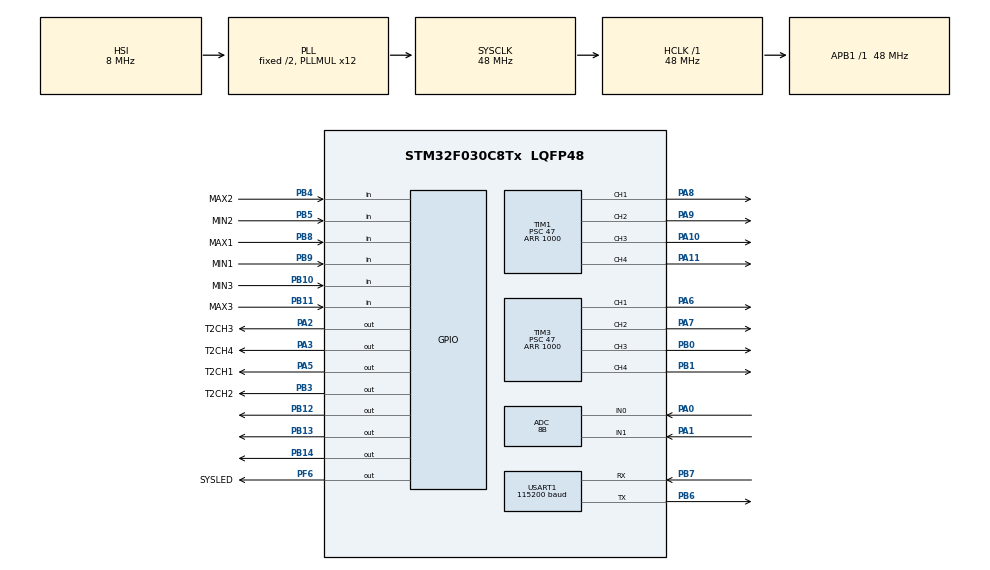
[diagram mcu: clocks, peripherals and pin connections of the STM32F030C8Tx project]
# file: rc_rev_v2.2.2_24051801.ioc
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ADC.AWD1LowThreshold=0
ADC.Channel-1\#ChannelRegularConversion=ADC_CHANNEL_1
ADC.Channel-IN0=ADC_CHANNEL_0
ADC.Channel-IN1=ADC_CHANNEL_1
ADC.ClockPrescaler=ADC_CLOCK_SYNC_PCLK_DIV4
ADC.ContinuousConvMode=ENABLE
ADC.DMAContinuousRequests=ENABLE
ADC.DataAlign=ADC_DATAALIGN_RIGHT
ADC.DiscontinuousConvMode=DISABLE
ADC.EOCSelection=ADC_EOC_SINGLE_CONV
ADC.EnableAnalogWatchDog=false
ADC.ExternalTrigConv=ADC_SOFTWARE_START
ADC.ExternalTrigConvEdge=ADC_EXTERNALTRIGCONVEDGE_NONE
ADC.LowPowerAutoPowerOff=DISABLE
ADC.LowPowerAutoWait=DISABLE
ADC.NbrOfConversion=2
ADC.NbrOfConversionFlag=1
ADC.Overrun=ADC_OVR_DATA_PRESERVED
ADC.Rank-0\#ChannelRegularConversion=1
ADC.Rank-1\#ChannelRegularConversion=2
ADC.Resolution=ADC_RESOLUTION_8B
ADC.SamplingTime=ADC_SAMPLETIME_239CYCLES_5
ADC.ScanConvMode=ADC_SCAN_DIRECTION_FORWARD
ADC.master=1
Dma.ADC.0.Direction=DMA_PERIPH_TO_MEMORY
Dma.ADC.0.Instance=DMA1_Channel1
Dma.ADC.0.MemDataAlignment=DMA_MDATAALIGN_BYTE
Dma.ADC.0.MemInc=DMA_MINC_ENABLE
Dma.ADC.0.Mode=DMA_CIRCULAR
Dma.ADC.0.PeriphDataAlignment=DMA_PDATAALIGN_BYTE
Dma.ADC.0.PeriphInc=DMA_PINC_DISABLE
Dma.ADC.0.Priority=DMA_PRIORITY_MEDIUM
Dma.Request0=ADC
Mcu.Family=STM32F0
Mcu.Name=STM32F030C8Tx
Mcu.Package=LQFP48
NVIC.DMA1_Channel1_IRQn=true\:0\:0\:false\:false\:true\:false\:true\:true
NVIC.TIM16_IRQn=true\:0\:0\:false\:false\:true\:true\:true\:true
NVIC.TIM17_IRQn=true\:0\:0\:false\:false\:true\:true\:true\:true
NVIC.USART1_IRQn=true\:0\:0\:false\:false\:true\:true\:true\:true
PA0.Mode=IN0
PA0.Signal=ADC_IN0
PA1.Mode=IN1
PA1.Signal=ADC_IN1
PA10.Signal=S_TIM1_CH3
PA11.Signal=S_TIM1_CH4
PA13.Mode=Serial_Wire
PA13.Signal=SYS_SWDIO
PA14.Mode=Serial_Wire
PA14.Signal=SYS_SWCLK
PA2.GPIO_Label=T2CH3
PA2.Signal=GPIO_Output
PA3.GPIO_Label=T2CH4
PA3.Signal=GPIO_Output
PA5.GPIO_Label=T2CH1
PA5.Signal=GPIO_Output
PA6.Signal=S_TIM3_CH1
PA7.Signal=S_TIM3_CH2
PA8.Signal=S_TIM1_CH1
PA9.Signal=S_TIM1_CH2
PB0.Signal=S_TIM3_CH3
PB1.Signal=S_TIM3_CH4
PB10.GPIO_Label=MIN3
PB10.Signal=GPIO_Input
PB11.GPIO_Label=MAX3
PB11.Signal=GPIO_Input
PB12.GPIO_PuPd=GPIO_NOPULL
PB12.Signal=GPIO_Output
PB13.Signal=GPIO_Output
PB14.Signal=GPIO_Output
PB3.GPIO_Label=T2CH2
PB3.Signal=GPIO_Output
PB4.GPIO_Label=MAX2
PB4.Signal=GPIO_Input
PB5.GPIO_Label=MIN2
PB5.Signal=GPIO_Input
PB6.Mode=Asynchronous
PB6.Signal=USART1_TX
PB7.Mode=Asynchronous
PB7.Signal=USART1_RX
PB8.GPIO_Label=MAX1
PB8.Signal=GPIO_Input
PB9.GPIO_Label=MIN1
PB9.Signal=GPIO_Input
PF6.GPIO_Label=SYSLED
PF6.Signal=GPIO_Output
ProjectManager.HeapSize=0x00
ProjectManager.StackSize=0x400
ProjectManager.TargetToolchain=MDK-ARM V5
RCC.AHBFreq_Value=48000000
RCC.APB1Freq_Value=48000000
RCC.APB1TimFreq_Value=48000000
RCC.FLatency=FLASH_LATENCY_1
RCC.HCLKFreq_Value=48000000
RCC.PLLMUL=RCC_PLL_MUL12
RCC.SYSCLKFreq_VALUE=48000000
RCC.SYSCLKSource=RCC_SYSCLKSOURCE_PLLCLK
SH.S_TIM1_CH1.0=TIM1_CH1,PWM Generation1 CH1
SH.S_TIM1_CH2.0=TIM1_CH2,PWM Generation2 CH2
SH.S_TIM1_CH3.0=TIM1_CH3,PWM Generation3 CH3
SH.S_TIM1_CH4.0=TIM1_CH4,PWM Generation4 CH4
SH.S_TIM3_CH1.0=TIM3_CH1,PWM Generation1 CH1
SH.S_TIM3_CH2.0=TIM3_CH2,PWM Generation2 CH2
SH.S_TIM3_CH3.0=TIM3_CH3,PWM Generation3 CH3
SH.S_TIM3_CH4.0=TIM3_CH4,PWM Generation4 CH4
TIM1.AutoReloadPreload=TIM_AUTORELOAD_PRELOAD_ENABLE
TIM1.AutomaticOutput=TIM_AUTOMATICOUTPUT_DISABLE
TIM1.BreakPolarity=TIM_BREAKPOLARITY_HIGH
TIM1.BreakState=TIM_BREAK_DISABLE
TIM1.Channel-PWM\ Generation1\ CH1=TIM_CHANNEL_1
TIM1.Channel-PWM\ Generation2\ CH2=TIM_CHANNEL_2
TIM1.Channel-PWM\ Generation3\ CH3=TIM_CHANNEL_3
TIM1.Channel-PWM\ Generation4\ CH4=TIM_CHANNEL_4
TIM1.ClockDivision=TIM_CLOCKDIVISION_DIV1
TIM1.CounterMode=TIM_COUNTERMODE_UP
TIM1.LockLevel=TIM_LOCKLEVEL_OFF
TIM1.OC1Preload_PWM=ENABLE
TIM1.OC2Preload_PWM=ENABLE
TIM1.OC3Preload_PWM=ENABLE
TIM1.OC4Preload_PWM=ENABLE
TIM1.OCFastMode_PWM-PWM\ Generation1\ CH1=TIM_OCFAST_ENABLE
TIM1.OCFastMode_PWM-PWM\ Generation2\ CH2=TIM_OCFAST_ENABLE
TIM1.OCFastMode_PWM-PWM\ Generation3\ CH3=TIM_OCFAST_ENABLE
TIM1.OCFastMode_PWM-PWM\ Generation4\ CH4=TIM_OCFAST_ENABLE
TIM1.OCIdleState_1=TIM_OCIDLESTATE_RESET
TIM1.OCIdleState_2=TIM_OCIDLESTATE_RESET
TIM1.OCIdleState_3=TIM_OCIDLESTATE_RESET
TIM1.OCIdleState_4=TIM_OCIDLESTATE_RESET
TIM1.OCMode_PWM-PWM\ Generation1\ CH1=TIM_OCMODE_PWM1
TIM1.OCMode_PWM-PWM\ Generation2\ CH2=TIM_OCMODE_PWM1
TIM1.OCMode_PWM-PWM\ Generation3\ CH3=TIM_OCMODE_PWM1
TIM1.OCMode_PWM-PWM\ Generation4\ CH4=TIM_OCMODE_PWM1
TIM1.OCPolarity_1=TIM_OCPOLARITY_HIGH
TIM1.OCPolarity_2=TIM_OCPOLARITY_HIGH
TIM1.OCPolarity_3=TIM_OCPOLARITY_HIGH
TIM1.OCPolarity_4=TIM_OCPOLARITY_HIGH
TIM1.OffStateIDLEMode=TIM_OSSI_DISABLE
TIM1.OffStateRunMode=TIM_OSSR_DISABLE
TIM1.Period=1000
TIM1.Prescaler=47
TIM1.Pulse-PWM\ Generation1\ CH1=500
TIM1.Pulse-PWM\ Generation2\ CH2=500
TIM1.Pulse-PWM\ Generation3\ CH3=500
TIM1.Pulse-PWM\ Generation4\ CH4=500
TIM1.RepetitionCounter=0
TIM1.TIM_MasterOutputTrigger=TIM_TRGO_RESET
TIM1.TIM_MasterSlaveMode=TIM_MASTERSLAVEMODE_DISABLE
TIM16.AutoReloadPreload=TIM_AUTORELOAD_PRELOAD_ENABLE
TIM16.ClockDivision=TIM_CLOCKDIVISION_DIV1
TIM16.CounterMode=TIM_COUNTERMODE_UP
TIM16.Period=10000
TIM16.Prescaler=47
TIM16.RepetitionCounter=0
TIM17.AutoReloadPreload=TIM_AUTORELOAD_PRELOAD_ENABLE
TIM17.Period=100
TIM17.Prescaler=47
TIM3.AutoReloadPreload=TIM_AUTORELOAD_PRELOAD_ENABLE
TIM3.Channel-PWM\ Generation1\ CH1=TIM_CHANNEL_1
TIM3.Channel-PWM\ Generation2\ CH2=TIM_CHANNEL_2
TIM3.Channel-PWM\ Generation3\ CH3=TIM_CHANNEL_3
TIM3.Channel-PWM\ Generation4\ CH4=TIM_CHANNEL_4
TIM3.ClockDivision=TIM_CLOCKDIVISION_DIV1
TIM3.CounterMode=TIM_COUNTERMODE_UP
TIM3.OC1Preload_PWM=ENABLE
TIM3.OC2Preload_PWM=ENABLE
TIM3.OC3Preload_PWM=ENABLE
TIM3.OC4Preload_PWM=ENABLE
TIM3.OCFastMode_PWM-PWM\ Generation1\ CH1=TIM_OCFAST_ENABLE
TIM3.OCFastMode_PWM-PWM\ Generation2\ CH2=TIM_OCFAST_ENABLE
TIM3.OCFastMode_PWM-PWM\ Generation3\ CH3=TIM_OCFAST_ENABLE
TIM3.OCFastMode_PWM-PWM\ Generation4\ CH4=TIM_OCFAST_ENABLE
TIM3.OCMode_PWM-PWM\ Generation1\ CH1=TIM_OCMODE_PWM1
TIM3.OCMode_PWM-PWM\ Generation2\ CH2=TIM_OCMODE_PWM1
TIM3.OCMode_PWM-PWM\ Generation3\ CH3=TIM_OCMODE_PWM1
TIM3.OCMode_PWM-PWM\ Generation4\ CH4=TIM_OCMODE_PWM1
TIM3.OCPolarity_1=TIM_OCPOLARITY_HIGH
TIM3.OCPolarity_2=TIM_OCPOLARITY_HIGH
TIM3.OCPolarity_3=TIM_OCPOLARITY_HIGH
TIM3.OCPolarity_4=TIM_OCPOLARITY_HIGH
TIM3.Period=1000
TIM3.Prescaler=47
TIM3.Pulse-PWM\ Generation1\ CH1=500
TIM3.Pulse-PWM\ Generation2\ CH2=500
TIM3.Pulse-PWM\ Generation3\ CH3=500
TIM3.Pulse-PWM\ Generation4\ CH4=500
TIM3.TIM_MasterOutputTrigger=TIM_TRGO_RESET
TIM3.TIM_MasterSlaveMode=TIM_MASTERSLAVEMODE_DISABLE
USART1.AutoBaudRateEnableParam=UART_ADVFEATURE_AUTOBAUDRATE_DISABLE
USART1.BaudRate=115200
USART1.DMADisableonRxErrorParam=ADVFEATURE_DMA_ENABLEONRXERROR
USART1.DataInvertParam=ADVFEATURE_DATAINV_DISABLE
USART1.MSBFirstParam=ADVFEATURE_MSBFIRST_DISABLE
USART1.Mode=MODE_TX_RX
USART1.OneBitSampling=UART_ONE_BIT_SAMPLE_DISABLE
USART1.OverSampling=UART_OVERSAMPLING_16
USART1.OverrunDisableParam=ADVFEATURE_OVERRUN_ENABLE
USART1.Parity=PARITY_NONE
USART1.RxPinLevelInvertParam=ADVFEATURE_RXINV_DISABLE
USART1.StopBits=STOPBITS_1
USART1.SwapParam=ADVFEATURE_SWAP_DISABLE
USART1.TxPinLevelInvertParam=ADVFEATURE_TXINV_DISABLE
USART1.VirtualMode-Asynchronous=VM_ASYNC
USART1.WordLength=WORDLENGTH_8B
VP_TIM16_VS_ClockSourceINT.Mode=Enable_Timer
VP_TIM17_VS_ClockSourceINT.Mode=Enable_Timer
VP_TIM1_VS_ClockSourceINT.Mode=Internal
VP_TIM3_VS_ClockSourceINT.Mode=Internal
board=custom

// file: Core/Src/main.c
/* USER CODE BEGIN Header */
/**
  ******************************************************************************
  * @file           : main.c
  * @brief          : Main program body
  ******************************************************************************
  * @attention
  *
  * Copyright (c) 2024 STMicroelectronics.
  * All rights reserved.
  *
  * This software is licensed under terms that can be found in the LICENSE file
  * in the root directory of this software component.
  * If no LICENSE file comes with this software, it is provided AS-IS.
  *
  ******************************************************************************
  */
/* USER CODE END Header */
#include "main.h"

/* USER CODE BEGIN Includes */
#include "ci24r1.h"
#include "stdio.h"
#include "SEGGER_RTT.h"
#include "motor.h"

/* USER CODE END Includes */

ADC_HandleTypeDef hadc;
DMA_HandleTypeDef hdma_adc;

TIM_HandleTypeDef htim1;
TIM_HandleTypeDef htim3;
TIM_HandleTypeDef htim16;
TIM_HandleTypeDef htim17;

UART_HandleTypeDef huart1;

void SystemClock_Config(void);
static void MX_GPIO_Init(void);
static void MX_DMA_Init(void);
static void MX_ADC_Init(void);
static void MX_TIM1_Init(void);
static void MX_TIM3_Init(void);
static void MX_USART1_UART_Init(void);
static void MX_TIM16_Init(void);
static void MX_TIM17_Init(void);

/* USER CODE BEGIN 0 */
void print_buf(uint8_t* buf,uint8_t buflen)
{
  for(int i = 0; i<buflen; i++)
  {
    SEGGER_RTT_printf(0, "%#x ",buf[i]);
  }
  SEGGER_RTT_printf(0, "\r\n");

}

//#define TXMODE
#define ADC_CH_CNT 2
#define ADC_AVG_CNT 10
uint8_t adc_value[ADC_CH_CNT * ADC_AVG_CNT] = {0}; // adc dma buffer

u8 adc_get_val(u8 idx)
{
	int sum = 0;
  for(int i=0; i<ADC_AVG_CNT; i++)
  {
    sum += adc_value[idx + i * ADC_CH_CNT];
  }
  return sum/ADC_AVG_CNT;
}

#define SOFTPWMCHN 4

int SoftPwmDuty[SOFTPWMCHN] = {0,0,0,0};
GPIO_TypeDef* SoftPwmPort[SOFTPWMCHN] = {T2CH1_GPIO_Port,T2CH2_GPIO_Port,T2CH3_GPIO_Port,T2CH4_GPIO_Port};
uint16_t SoftPwmPin[SOFTPWMCHN] = {T2CH1_Pin,T2CH2_Pin,T2CH3_Pin,T2CH4_Pin};

void SoftPwmInit(void)
{
  //nothing to do
}
static u8 counter = 0;
// put in tim17 interrupt
void SoftPwmService(void)
{

    int i;

    if(counter == 0)
    {
      for(i=0; i<SOFTPWMCHN; i++)
      {
          if(SoftPwmDuty[i] == 0)
          {
            HAL_GPIO_WritePin(SoftPwmPort[i],SoftPwmPin[i],GPIO_PIN_RESET);
          }
          else
          {
            HAL_GPIO_WritePin(SoftPwmPort[i],SoftPwmPin[i],GPIO_PIN_SET);
          }

      }
      counter++;
    }
    else if(counter >= 10)
    {
      counter = 0;
      for(i=0; i<SOFTPWMCHN; i++)
      {
					if(SoftPwmDuty[i] == 10)
          {
            HAL_GPIO_WritePin(SoftPwmPort[i],SoftPwmPin[i],GPIO_PIN_SET);
          }
          else
          {
            HAL_GPIO_WritePin(SoftPwmPort[i],SoftPwmPin[i],GPIO_PIN_RESET);
          }
      }
    }
    else// 1~9
    {
      for(i=0; i<SOFTPWMCHN; i++)
      {
        if(SoftPwmDuty[i] == counter)
          HAL_GPIO_WritePin(SoftPwmPort[i], SoftPwmPin[i], GPIO_PIN_RESET);
      }
      counter++;
    }

}
//ch 0-3 duty 0-1000
void SoftPwmSetDuty(u8 ch,u16 dutyin)
{
    u8 duty = dutyin / 100;

    if(dutyin >= 910)
      duty = 10;

    if(duty > 10)
        duty = 10;
    if(ch >= 4)
        return;
    SoftPwmDuty[ch] = duty;
}

void limit_init(void)
{
  //cubemax already inital
}

void debounce(u8 originInput,u8 *output,u32 mask,int* bounceTimer)
{
  if (originInput & mask)
  {
    //SEGGER_RTT_printf(0, "max1 trig 1 %d\r\n", HAL_GetTick());
    (*bounceTimer)++;
    if (*bounceTimer >= 5)
    {
      //SEGGER_RTT_printf(0, "max1 trig 2 %d\r\n", HAL_GetTick());
      *bounceTimer = 5; // 一直锁定在这里
      *output |= mask;
    }
    else
    {
      *output &= ~mask;
    }
  }
  else
  {
    *output &= ~mask;
    //SEGGER_RTT_printf(0, "max1 trig 0 %d\r\n", HAL_GetTick());
    *bounceTimer = 0;
  }
}

int Max1timer = 0;
int Max2timer = 0;
int Max3timer = 0;

void limit_check(void)
{

  u8 tmp_limit_state = 0;

  // MAX 输入高为trig
  // MIN 输入低为trig

  if (HAL_GPIO_ReadPin(MAX1_GPIO_Port, MAX1_Pin) == SET)
    tmp_limit_state |= LIMIT_MAX1_TRIG;
  if (HAL_GPIO_ReadPin(MIN1_GPIO_Port, MIN1_Pin) == RESET)
    tmp_limit_state |= LIMIT_MIN1_TRIG;
  if (HAL_GPIO_ReadPin(MAX2_GPIO_Port, MAX2_Pin) == SET)
    tmp_limit_state |= LIMIT_MAX2_TRIG;
  if (HAL_GPIO_ReadPin(MIN2_GPIO_Port, MIN2_Pin) == RESET)
    tmp_limit_state |= LIMIT_MIN2_TRIG;
  if (HAL_GPIO_ReadPin(MAX3_GPIO_Port, MAX3_Pin) == SET)
    tmp_limit_state |= LIMIT_MAX3_TRIG;
  if (HAL_GPIO_ReadPin(MIN3_GPIO_Port, MIN3_Pin) == RESET)
    tmp_limit_state |= LIMIT_MIN3_TRIG;

  g_limit_state = tmp_limit_state;

#if 1
  // max trig信号必须要添加防抖功能,否则电机会出现断断续续现象
	debounce(tmp_limit_state, &g_limit_state, LIMIT_MAX1_TRIG, &Max1timer);
	debounce(tmp_limit_state, &g_limit_state, LIMIT_MAX2_TRIG, &Max2timer);
	debounce(tmp_limit_state, &g_limit_state, LIMIT_MAX3_TRIG, &Max3timer);

#endif
}

//0 灭  1亮  2快闪  3慢闪  4toggle
uint32_t ledOnTime = 5;
uint32_t ledOffTime = 10;

void ledSetMode(int mode)
{
  if(mode == 0)
  {
    ledOnTime = 100;
    ledOffTime = 100;
  }
  else if(mode == 1)
  {
    ledOnTime = 0;
    ledOffTime = 100;
  }
  else if(mode == 2)
  {
    ledOnTime = 20;
    ledOffTime = 40;
  }
  else if(mode == 3)
  {
    ledOnTime = 100;
    ledOffTime = 200;
  }
  else if(mode == 4)
  {
    ledOnTime = 0;
    ledOffTime = 0;
    HAL_GPIO_TogglePin(GPIOF, GPIO_PIN_6);
  }
}
void ledservice(void)
{
  static uint32_t ledTimerCounter = 0;
  if (ledOnTime != 0 || ledOffTime != 0)
  {
    if (++ledTimerCounter >= ledOnTime)
      HAL_GPIO_WritePin(GPIOF, GPIO_PIN_6, GPIO_PIN_RESET); // led on

    if (ledTimerCounter >= ledOffTime)
    {
      ledTimerCounter = 0;
      HAL_GPIO_WritePin(GPIOF, GPIO_PIN_6, GPIO_PIN_SET); // led off
    }
  }
}

uint8_t connectStatus = 0;
uint32_t lastRevFrame = 0;
void connectService(void)
{
    if (connectStatus)
    {
      uint32_t now = HAL_GetTick();
      if (abs(now - lastRevFrame) >= 50)
      {
        connectStatus = 0;
        ledSetMode(3);
      }
    }
}

/* USER CODE END 0 */

int main(void)
{

  /* MCU Configuration--------------------------------------------------------*/

  /* Reset of all peripherals, Initializes the Flash interface and the Systick. */
  HAL_Init();

  /* Configure the system clock */
  SystemClock_Config();

  /* USER CODE BEGIN SysInit */

  HAL_Delay(100);
  SEGGER_RTT_printf(0, "board init\r\n");
  /* USER CODE END SysInit */

  /* Initialize all configured peripherals */
  MX_GPIO_Init();
  MX_DMA_Init();
  MX_ADC_Init();
  MX_TIM1_Init();
  MX_TIM3_Init();
  MX_USART1_UART_Init();
  MX_TIM16_Init();
  MX_TIM17_Init();
  /* USER CODE BEGIN 2 */

  if(HAL_ERROR == HAL_ADCEx_Calibration_Start(&hadc))
  {
    SEGGER_RTT_printf(0, "ADC Calibration error\r\n");
  }
  HAL_ADC_Start_DMA(&hadc, (uint32_t *)adc_value, ADC_CH_CNT * ADC_AVG_CNT);

  motorinit();

  uint8_t TX_ADDRESS[5] = {0x34, 0x43, 0x10, 0x10, 0x01};
  uint8_t RX_ADDRESS[5] = {0x34, 0x43, 0x10, 0x10, 0x01};
  ledSetMode(1);
  while (CI24R1_SPI_Test() == HAL_ERROR)
  {
    //HAL_GPIO_WritePin(GPIOF, GPIO_PIN_6, GPIO_PIN_RESET);
    //HAL_Delay(30);
    //HAL_GPIO_WritePin(GPIOF, GPIO_PIN_6, GPIO_PIN_SET);
    HAL_Delay(1000);

  }
  SEGGER_RTT_printf(0, "ci24r1 test succ\r\n");
  ledSetMode(3);
  /* USER CODE END 2 */

  /* Infinite loop */
  /* USER CODE BEGIN WHILE */
  CI24R1_Init();
  CI24R1_SetChannel(122);
#ifdef	TXMODE
	CI24R1_SetTxMode();
#else
  CI24R1_SetRxMode();
#endif
  CI24R1_SetTxAddress(TX_ADDRESS);
  CI24R1_SetRxAddress(RX_ADDRESS);

  HAL_TIM_Base_Start_IT(&htim16);
  HAL_TIM_Base_Start_IT(&htim17);

  uint8_t rxbuf[32];
  uint8_t rxbuflen;
	uint8_t ackpayload[3] = {0};

  while (1)
  {
    /* USER CODE END WHILE */

    /* USER CODE BEGIN 3 */
    // TX
		//HAL_GPIO_TogglePin(GPIOF, GPIO_PIN_6);

    #ifdef	TXMODE
    rxbuf[0]++;
		rxbuf[1] = rxbuf[0]+1;
		rxbuf[2] = rxbuf[0]+2;
		rxbuf[3] = rxbuf[0]+4;
    rxbuf[4]= rxbuf[0];
    uint8_t rc = CI24R1_Tx(rxbuf, 0);

    #else

    CI24R1_WriteACKPload(ackpayload, 3);

    uint8_t rc = CI24R1_Rx(rxbuf, &rxbuflen);
    //print_buf(adc_value,20);
    if(rc & CI24R1_FLAG_RX_READY)
    {
       if(rxbuflen > 0)
      {
        ledSetMode(4);
        connectStatus = 1;
        lastRevFrame = HAL_GetTick();
        motor_set_exp(MOTOR_SMALL_ARM, rxbuf[0], 1);
        motor_set_exp(MOTOR_TURN, rxbuf[1], 1);
        motor_set_exp(MOTOR_BIG_ARM, rxbuf[2], 1);
        motor_set_exp(MOTOR_DIG_BUCKET, rxbuf[3], 1);
        motor_set_exp(MOTOR_LEFT_TRACK, rxbuf[4], 0);
        motor_set_exp(MOTOR_RIGHT_TRACK, rxbuf[6], 1);
        //SEGGER_RTT_printf(0, "rxbuf:%d %d %d %d %d %d\r\n", rxbuf[0],rxbuf[1],rxbuf[2],rxbuf[3],rxbuf[4],rxbuf[6]);
      }
    }

    float vcc = adc_value[1];
    vcc = vcc / 256 * 33.3 * (4.9/1.0);
    //float current = adc_value[0];
    //current = current * 3.33 * 100 / 256 / 0.05 / 20; //10mA per unit
    //SEGGER_RTT_printf(0, "%d %d\r\n", get_adc_val(0),get_adc_val(1));
    ackpayload[0] = adc_get_val(0);
    ackpayload[1] = (int)vcc;
    ackpayload[2] = g_limit_state;
    //ackpayload[3] = motor_limit_flagh;

    //motor_input_current((u8)current);

    //motor idx  info
    // 0 Digging buckets 1 small arm 2 big arm 3 turn 4 left track 5 right track

#endif

    HAL_Delay(2);
  }
  /* USER CODE END 3 */
}

void SystemClock_Config(void)
{
  RCC_OscInitTypeDef RCC_OscInitStruct = {0};
  RCC_ClkInitTypeDef RCC_ClkInitStruct = {0};
  RCC_PeriphCLKInitTypeDef PeriphClkInit = {0};

  /** Initializes the RCC Oscillators according to the specified parameters
  * in the RCC_OscInitTypeDef structure.
  */
  RCC_OscInitStruct.OscillatorType = RCC_OSCILLATORTYPE_HSI;
  RCC_OscInitStruct.HSIState = RCC_HSI_ON;
  RCC_OscInitStruct.HSICalibrationValue = RCC_HSICALIBRATION_DEFAULT;
  RCC_OscInitStruct.PLL.PLLState = RCC_PLL_ON;
  RCC_OscInitStruct.PLL.PLLSource = RCC_PLLSOURCE_HSI;
  RCC_OscInitStruct.PLL.PLLMUL = RCC_PLL_MUL12;
  RCC_OscInitStruct.PLL.PREDIV = RCC_PREDIV_DIV1;
  if (HAL_RCC_OscConfig(&RCC_OscInitStruct) != HAL_OK)
  {
    Error_Handler();
  }

  /** Initializes the CPU, AHB and APB buses clocks
  */
  RCC_ClkInitStruct.ClockType = RCC_CLOCKTYPE_HCLK|RCC_CLOCKTYPE_SYSCLK
                              |RCC_CLOCKTYPE_PCLK1;
  RCC_ClkInitStruct.SYSCLKSource = RCC_SYSCLKSOURCE_PLLCLK;
  RCC_ClkInitStruct.AHBCLKDivider = RCC_SYSCLK_DIV1;
  RCC_ClkInitStruct.APB1CLKDivider = RCC_HCLK_DIV1;

  if (HAL_RCC_ClockConfig(&RCC_ClkInitStruct, FLASH_LATENCY_1) != HAL_OK)
  {
    Error_Handler();
  }
  PeriphClkInit.PeriphClockSelection = RCC_PERIPHCLK_USART1;
  PeriphClkInit.Usart1ClockSelection = RCC_USART1CLKSOURCE_PCLK1;
  if (HAL_RCCEx_PeriphCLKConfig(&PeriphClkInit) != HAL_OK)
  {
    Error_Handler();
  }
}

static void MX_ADC_Init(void)
{

  ADC_ChannelConfTypeDef sConfig = {0};

  /** Configure the global features of the ADC (Clock, Resolution, Data Alignment and number of conversion)
  */
  hadc.Instance = ADC1;
  hadc.Init.ClockPrescaler = ADC_CLOCK_SYNC_PCLK_DIV4;
  hadc.Init.Resolution = ADC_RESOLUTION_8B;
  hadc.Init.DataAlign = ADC_DATAALIGN_RIGHT;
  hadc.Init.ScanConvMode = ADC_SCAN_DIRECTION_FORWARD;
  hadc.Init.EOCSelection = ADC_EOC_SINGLE_CONV;
  hadc.Init.LowPowerAutoWait = DISABLE;
  hadc.Init.LowPowerAutoPowerOff = DISABLE;
  hadc.Init.ContinuousConvMode = ENABLE;
  hadc.Init.DiscontinuousConvMode = DISABLE;
  hadc.Init.ExternalTrigConv = ADC_SOFTWARE_START;
  hadc.Init.ExternalTrigConvEdge = ADC_EXTERNALTRIGCONVEDGE_NONE;
  hadc.Init.DMAContinuousRequests = ENABLE;
  hadc.Init.Overrun = ADC_OVR_DATA_PRESERVED;
  if (HAL_ADC_Init(&hadc) != HAL_OK)
  {
    Error_Handler();
  }

  /** Configure for the selected ADC regular channel to be converted.
  */
  sConfig.Channel = ADC_CHANNEL_0;
  sConfig.Rank = ADC_RANK_CHANNEL_NUMBER;
  sConfig.SamplingTime = ADC_SAMPLETIME_239CYCLES_5;
  if (HAL_ADC_ConfigChannel(&hadc, &sConfig) != HAL_OK)
  {
    Error_Handler();
  }

  /** Configure for the selected ADC regular channel to be converted.
  */
  sConfig.Channel = ADC_CHANNEL_1;
  if (HAL_ADC_ConfigChannel(&hadc, &sConfig) != HAL_OK)
  {
    Error_Handler();
  }

}

static void MX_TIM1_Init(void)
{

  TIM_ClockConfigTypeDef sClockSourceConfig = {0};
  TIM_MasterConfigTypeDef sMasterConfig = {0};
  TIM_OC_InitTypeDef sConfigOC = {0};
  TIM_BreakDeadTimeConfigTypeDef sBreakDeadTimeConfig = {0};

  htim1.Instance = TIM1;
  htim1.Init.Prescaler = 47;
  htim1.Init.CounterMode = TIM_COUNTERMODE_UP;
  htim1.Init.Period = 1000;
  htim1.Init.ClockDivision = TIM_CLOCKDIVISION_DIV1;
  htim1.Init.RepetitionCounter = 0;
  htim1.Init.AutoReloadPreload = TIM_AUTORELOAD_PRELOAD_ENABLE;
  if (HAL_TIM_Base_Init(&htim1) != HAL_OK)
  {
    Error_Handler();
  }
  sClockSourceConfig.ClockSource = TIM_CLOCKSOURCE_INTERNAL;
  if (HAL_TIM_ConfigClockSource(&htim1, &sClockSourceConfig) != HAL_OK)
  {
    Error_Handler();
  }
  if (HAL_TIM_PWM_Init(&htim1) != HAL_OK)
  {
    Error_Handler();
  }
  sMasterConfig.MasterOutputTrigger = TIM_TRGO_RESET;
  sMasterConfig.MasterSlaveMode = TIM_MASTERSLAVEMODE_DISABLE;
  if (HAL_TIMEx_MasterConfigSynchronization(&htim1, &sMasterConfig) != HAL_OK)
  {
    Error_Handler();
  }
  sConfigOC.OCMode = TIM_OCMODE_PWM1;
  sConfigOC.Pulse = 500;
  sConfigOC.OCPolarity = TIM_OCPOLARITY_HIGH;
  sConfigOC.OCNPolarity = TIM_OCNPOLARITY_HIGH;
  sConfigOC.OCFastMode = TIM_OCFAST_ENABLE;
  sConfigOC.OCIdleState = TIM_OCIDLESTATE_RESET;
  sConfigOC.OCNIdleState = TIM_OCNIDLESTATE_RESET;
  if (HAL_TIM_PWM_ConfigChannel(&htim1, &sConfigOC, TIM_CHANNEL_1) != HAL_OK)
  {
    Error_Handler();
  }
  if (HAL_TIM_PWM_ConfigChannel(&htim1, &sConfigOC, TIM_CHANNEL_2) != HAL_OK)
  {
    Error_Handler();
  }
  if (HAL_TIM_PWM_ConfigChannel(&htim1, &sConfigOC, TIM_CHANNEL_3) != HAL_OK)
  {
    Error_Handler();
  }
  if (HAL_TIM_PWM_ConfigChannel(&htim1, &sConfigOC, TIM_CHANNEL_4) != HAL_OK)
  {
    Error_Handler();
  }
  sBreakDeadTimeConfig.OffStateRunMode = TIM_OSSR_DISABLE;
  sBreakDeadTimeConfig.OffStateIDLEMode = TIM_OSSI_DISABLE;
  sBreakDeadTimeConfig.LockLevel = TIM_LOCKLEVEL_OFF;
  sBreakDeadTimeConfig.DeadTime = 0;
  sBreakDeadTimeConfig.BreakState = TIM_BREAK_DISABLE;
  sBreakDeadTimeConfig.BreakPolarity = TIM_BREAKPOLARITY_HIGH;
  sBreakDeadTimeConfig.AutomaticOutput = TIM_AUTOMATICOUTPUT_DISABLE;
  if (HAL_TIMEx_ConfigBreakDeadTime(&htim1, &sBreakDeadTimeConfig) != HAL_OK)
  {
    Error_Handler();
  }
  HAL_TIM_MspPostInit(&htim1);

}

static void MX_TIM3_Init(void)
{

  TIM_ClockConfigTypeDef sClockSourceConfig = {0};
  TIM_MasterConfigTypeDef sMasterConfig = {0};
  TIM_OC_InitTypeDef sConfigOC = {0};

  htim3.Instance = TIM3;
  htim3.Init.Prescaler = 47;
  htim3.Init.CounterMode = TIM_COUNTERMODE_UP;
  htim3.Init.Period = 1000;
  htim3.Init.ClockDivision = TIM_CLOCKDIVISION_DIV1;
  htim3.Init.AutoReloadPreload = TIM_AUTORELOAD_PRELOAD_ENABLE;
  if (HAL_TIM_Base_Init(&htim3) != HAL_OK)
  {
    Error_Handler();
  }
  sClockSourceConfig.ClockSource = TIM_CLOCKSOURCE_INTERNAL;
  if (HAL_TIM_ConfigClockSource(&htim3, &sClockSourceConfig) != HAL_OK)
  {
    Error_Handler();
  }
  if (HAL_TIM_PWM_Init(&htim3) != HAL_OK)
  {
    Error_Handler();
  }
  sMasterConfig.MasterOutputTrigger = TIM_TRGO_RESET;
  sMasterConfig.MasterSlaveMode = TIM_MASTERSLAVEMODE_DISABLE;
  if (HAL_TIMEx_MasterConfigSynchronization(&htim3, &sMasterConfig) != HAL_OK)
  {
    Error_Handler();
  }
  sConfigOC.OCMode = TIM_OCMODE_PWM1;
  sConfigOC.Pulse = 500;
  sConfigOC.OCPolarity = TIM_OCPOLARITY_HIGH;
  sConfigOC.OCFastMode = TIM_OCFAST_ENABLE;
  if (HAL_TIM_PWM_ConfigChannel(&htim3, &sConfigOC, TIM_CHANNEL_1) != HAL_OK)
  {
    Error_Handler();
  }
  if (HAL_TIM_PWM_ConfigChannel(&htim3, &sConfigOC, TIM_CHANNEL_2) != HAL_OK)
  {
    Error_Handler();
  }
  if (HAL_TIM_PWM_ConfigChannel(&htim3, &sConfigOC, TIM_CHANNEL_3) != HAL_OK)
  {
    Error_Handler();
  }
  if (HAL_TIM_PWM_ConfigChannel(&htim3, &sConfigOC, TIM_CHANNEL_4) != HAL_OK)
  {
    Error_Handler();
  }
  HAL_TIM_MspPostInit(&htim3);

}

static void MX_TIM16_Init(void)
{

  htim16.Instance = TIM16;
  htim16.Init.Prescaler = 47;
  htim16.Init.CounterMode = TIM_COUNTERMODE_UP;
  htim16.Init.Period = 10000;
  htim16.Init.ClockDivision = TIM_CLOCKDIVISION_DIV1;
  htim16.Init.RepetitionCounter = 0;
  htim16.Init.AutoReloadPreload = TIM_AUTORELOAD_PRELOAD_ENABLE;
  if (HAL_TIM_Base_Init(&htim16) != HAL_OK)
  {
    Error_Handler();
  }

}

static void MX_TIM17_Init(void)
{

  htim17.Instance = TIM17;
  htim17.Init.Prescaler = 47;
  htim17.Init.CounterMode = TIM_COUNTERMODE_UP;
  htim17.Init.Period = 100;
  htim17.Init.ClockDivision = TIM_CLOCKDIVISION_DIV1;
  htim17.Init.RepetitionCounter = 0;
  htim17.Init.AutoReloadPreload = TIM_AUTORELOAD_PRELOAD_ENABLE;
  if (HAL_TIM_Base_Init(&htim17) != HAL_OK)
  {
    Error_Handler();
  }

}

static void MX_USART1_UART_Init(void)
{

  huart1.Instance = USART1;
  huart1.Init.BaudRate = 115200;
  huart1.Init.WordLength = UART_WORDLENGTH_8B;
  huart1.Init.StopBits = UART_STOPBITS_1;
  huart1.Init.Parity = UART_PARITY_NONE;
  huart1.Init.Mode = UART_MODE_TX_RX;
  huart1.Init.HwFlowCtl = UART_HWCONTROL_NONE;
  huart1.Init.OverSampling = UART_OVERSAMPLING_16;
  huart1.Init.OneBitSampling = UART_ONE_BIT_SAMPLE_DISABLE;
  huart1.AdvancedInit.AdvFeatureInit = UART_ADVFEATURE_NO_INIT;
  if (HAL_UART_Init(&huart1) != HAL_OK)
  {
    Error_Handler();
  }

}

static void MX_DMA_Init(void)
{

  /* DMA controller clock enable */
  __HAL_RCC_DMA1_CLK_ENABLE();

  /* DMA interrupt init */
  /* DMA1_Channel1_IRQn interrupt configuration */
  HAL_NVIC_SetPriority(DMA1_Channel1_IRQn, 0, 0);
  HAL_NVIC_EnableIRQ(DMA1_Channel1_IRQn);

}

static void MX_GPIO_Init(void)
{
  GPIO_InitTypeDef GPIO_InitStruct = {0};

  /* GPIO Ports Clock Enable */
  __HAL_RCC_GPIOA_CLK_ENABLE();
  __HAL_RCC_GPIOB_CLK_ENABLE();
  __HAL_RCC_GPIOF_CLK_ENABLE();

  /*Configure GPIO pin Output Level */
  HAL_GPIO_WritePin(GPIOA, T2CH3_Pin|T2CH4_Pin|T2CH1_Pin, GPIO_PIN_RESET);

  /*Configure GPIO pin Output Level */
  HAL_GPIO_WritePin(GPIOB, GPIO_PIN_12|GPIO_PIN_13|GPIO_PIN_14|T2CH2_Pin, GPIO_PIN_RESET);

  /*Configure GPIO pin Output Level */
  HAL_GPIO_WritePin(SYSLED_GPIO_Port, SYSLED_Pin, GPIO_PIN_RESET);

  /*Configure GPIO pins : T2CH3_Pin T2CH4_Pin T2CH1_Pin */
  GPIO_InitStruct.Pin = T2CH3_Pin|T2CH4_Pin|T2CH1_Pin;
  GPIO_InitStruct.Mode = GPIO_MODE_OUTPUT_PP;
  GPIO_InitStruct.Pull = GPIO_NOPULL;
  GPIO_InitStruct.Speed = GPIO_SPEED_FREQ_LOW;
  HAL_GPIO_Init(GPIOA, &GPIO_InitStruct);

  /*Configure GPIO pins : MIN3_Pin MAX3_Pin MAX2_Pin MIN2_Pin
                           MAX1_Pin MIN1_Pin */
  GPIO_InitStruct.Pin = MIN3_Pin|MAX3_Pin|MAX2_Pin|MIN2_Pin
                          |MAX1_Pin|MIN1_Pin;
  GPIO_InitStruct.Mode = GPIO_MODE_INPUT;
  GPIO_InitStruct.Pull = GPIO_NOPULL;
  HAL_GPIO_Init(GPIOB, &GPIO_InitStruct);

  /*Configure GPIO pins : PB12 PB13 PB14 T2CH2_Pin */
  GPIO_InitStruct.Pin = GPIO_PIN_12|GPIO_PIN_13|GPIO_PIN_14|T2CH2_Pin;
  GPIO_InitStruct.Mode = GPIO_MODE_OUTPUT_PP;
  GPIO_InitStruct.Pull = GPIO_NOPULL;
  GPIO_InitStruct.Speed = GPIO_SPEED_FREQ_LOW;
  HAL_GPIO_Init(GPIOB, &GPIO_InitStruct);

  /*Configure GPIO pin : SYSLED_Pin */
  GPIO_InitStruct.Pin = SYSLED_Pin;
  GPIO_InitStruct.Mode = GPIO_MODE_OUTPUT_PP;
  GPIO_InitStruct.Pull = GPIO_NOPULL;
  GPIO_InitStruct.Speed = GPIO_SPEED_FREQ_LOW;
  HAL_GPIO_Init(SYSLED_GPIO_Port, &GPIO_InitStruct);

}

void Error_Handler(void)
{
  __disable_irq();
  while (1)
  {
  }
}
